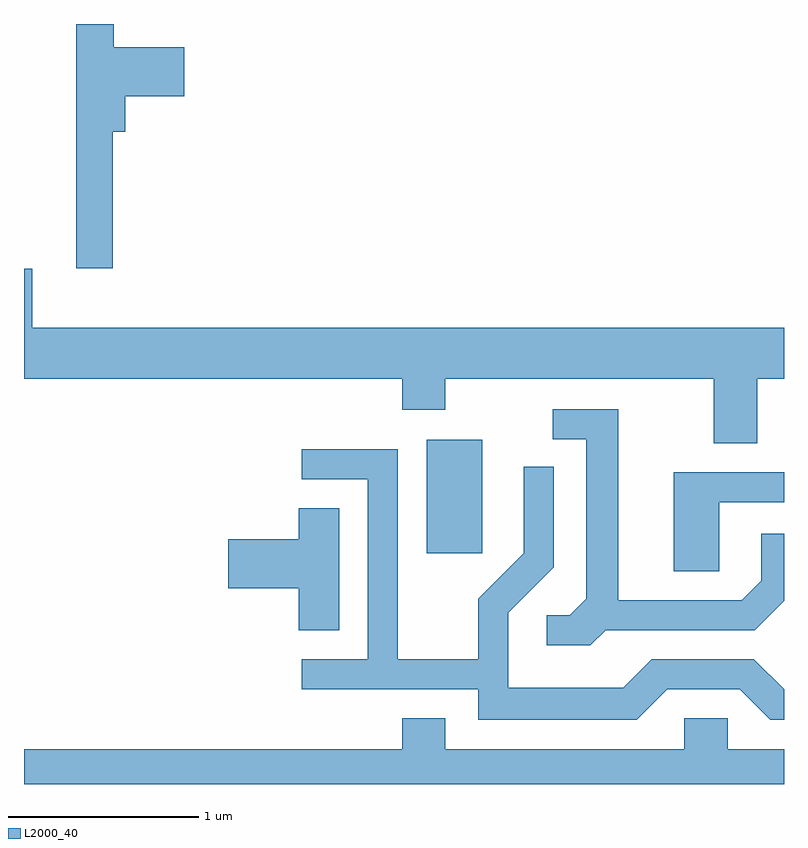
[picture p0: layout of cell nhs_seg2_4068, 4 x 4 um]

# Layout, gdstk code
import gdstk
lib = gdstk.Library(unit=1e-6, precision=1e-09)
def R(c, l, rs):  # rectangles x0, y0, x1, y1
    for r in rs: c.add(gdstk.rectangle(r[:2], r[2:], *l))
def P(c, l, *ps):  # polygons
    for p in ps: c.add(gdstk.Polygon(p, *l))
L2000_40 = (2000, 40)

nhs_seg2_4068 = lib.new_cell('nhs_seg2_4068')
R(nhs_seg2_4068, L2000_40, [(307.731,983.016,308.024,983.614)])
P(nhs_seg2_4068, L2000_40, [(306.079,985.236),(306.144,985.236),(306.144,985.421),(306.454,985.421),(306.454,985.679),(306.084,985.679),(306.084,985.802),(305.886,985.802),(305.886,984.516),(306.079,984.516)],
  [(309.469,983.936),(309.611,983.936),(309.611,984.204),(305.654,984.204),(305.654,984.514),(305.611,984.514),(305.611,983.936),(307.601,983.936),(307.601,983.771),(307.829,983.771),(307.829,983.936),(309.241,983.936),(309.241,983.596),(309.469,983.596)],
  [(308.672,982.611),(309.457,982.611),(309.611,982.766),(309.611,983.118),(309.491,983.118),(309.491,982.872),(309.389,982.769),(308.739,982.769),(308.739,983.774),(308.393,983.774),(308.393,983.616),(308.571,983.616),(308.571,982.777),(308.484,982.689),(308.363,982.689),(308.363,982.531),(308.592,982.531)],
  [(308.997,982.301),(309.379,982.301),(309.539,982.141),(309.611,982.141),(309.611,982.3),(309.452,982.459),(308.914,982.459),(308.764,982.309),(308.159,982.309),(308.159,982.704),(308.399,982.944),(308.399,983.473),(308.241,983.473),(308.241,983.017),(308.001,982.777),(308.001,982.459),(307.579,982.459),(307.579,983.564),(307.073,983.564),(307.073,983.406),(307.421,983.406),(307.421,982.459),(307.073,982.459),(307.073,982.301),(308.001,982.301),(308.001,982.141),(308.837,982.141)],
  [(309.269,983.286),(309.611,983.286),(309.611,983.444),(309.031,983.444),(309.031,982.921),(309.269,982.921)],
  [(307.269,983.254),(307.056,983.254),(307.056,983.089),(306.686,983.089),(306.686,982.831),(307.056,982.831),(307.056,982.611),(307.269,982.611)],
  [(309.611,981.984),(309.314,981.984),(309.314,982.149),(309.086,982.149),(309.086,981.984),(307.829,981.984),(307.829,982.149),(307.601,982.149),(307.601,981.984),(305.611,981.984),(305.611,981.802),(309.611,981.802)])

lib.write_gds('nhs_seg2_4068.gds')
